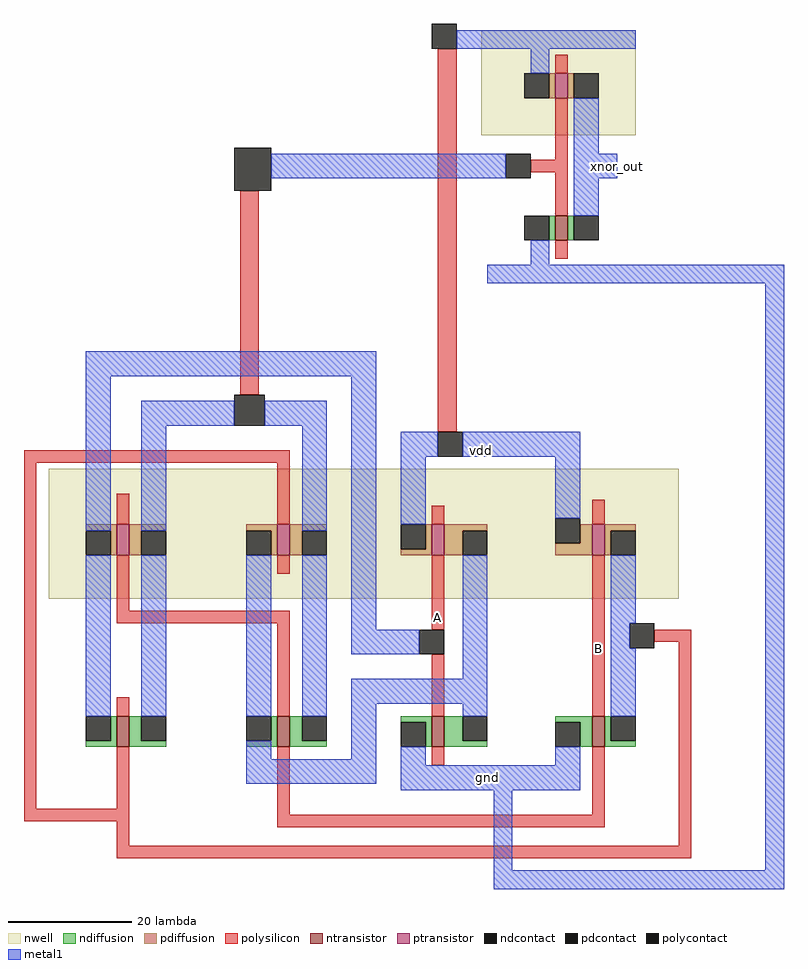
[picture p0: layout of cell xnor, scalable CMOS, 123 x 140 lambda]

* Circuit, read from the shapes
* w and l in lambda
.subckt xnor A B gnd vdd xnor_out
M1 n1 n2 A VSUBS nfet w=5 l=2
M2 n1 B n3 VSUBS nfet w=5 l=2
M3 n3 A gnd VSUBS nfet w=5 l=2
M4 xnor_out n1 gnd VSUBS nfet w=4 l=2
M5 n2 B gnd VSUBS nfet w=5 l=2
M6 n1 B A n4 pfet w=5 l=2
M7 n1 n2 n3 n4 pfet w=5 l=2
M8 n3 A vdd n4 pfet w=5 l=2
M9 xnor_out n1 vdd n5 pfet w=4 l=2
M10 n2 B vdd n4 pfet w=5 l=2
.ends

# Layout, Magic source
magic
tech scmos
<< nwell >>
rect 73 214 98 231
rect 3 139 105 160
<< ntransistor >>
rect 85 197 87 201
rect 14 115 16 120
rect 40 115 42 120
rect 65 115 67 120
rect 91 115 93 120
<< ptransistor >>
rect 85 220 87 224
rect 14 146 16 151
rect 40 146 42 151
rect 65 146 67 151
rect 91 146 93 151
<< ndiffusion >>
rect 84 197 85 201
rect 87 197 88 201
rect 13 116 14 120
rect 9 115 14 116
rect 16 116 18 120
rect 16 115 22 116
rect 39 116 40 120
rect 35 115 40 116
rect 42 116 44 120
rect 42 115 48 116
rect 60 119 65 120
rect 64 115 65 119
rect 67 116 70 120
rect 67 115 74 116
rect 85 119 91 120
rect 89 115 91 119
rect 93 116 94 120
rect 93 115 98 116
<< pdiffusion >>
rect 84 220 85 224
rect 87 220 88 224
rect 9 150 14 151
rect 13 146 14 150
rect 16 150 22 151
rect 16 146 18 150
rect 35 150 40 151
rect 39 146 40 150
rect 42 150 48 151
rect 42 146 44 150
rect 64 147 65 151
rect 60 146 65 147
rect 67 150 74 151
rect 67 146 70 150
rect 89 148 91 151
rect 85 146 91 148
rect 93 150 98 151
rect 93 146 94 150
<< ndcontact >>
rect 80 197 84 201
rect 88 197 92 201
rect 9 116 13 120
rect 18 116 22 120
rect 35 116 39 120
rect 44 116 48 120
rect 60 115 64 119
rect 70 116 74 120
rect 85 115 89 119
rect 94 116 98 120
<< pdcontact >>
rect 80 220 84 224
rect 88 220 92 224
rect 9 146 13 150
rect 18 146 22 150
rect 35 146 39 150
rect 44 146 48 150
rect 60 147 64 151
rect 70 146 74 150
rect 85 148 89 152
rect 94 146 98 150
<< polysilicon >>
rect 34 172 37 205
rect 66 166 69 228
rect 85 224 87 227
rect 85 210 87 220
rect 81 208 87 210
rect 85 201 87 208
rect 85 194 87 197
rect -1 161 42 163
rect -1 105 1 161
rect 14 151 16 156
rect 40 151 42 161
rect 65 151 67 154
rect 91 151 93 155
rect 14 137 16 146
rect 40 143 42 146
rect 14 135 42 137
rect 14 120 16 123
rect 40 120 42 135
rect 65 134 67 146
rect 65 120 67 130
rect 91 120 93 146
rect 101 132 107 134
rect 14 105 16 115
rect -1 103 16 105
rect 14 99 16 103
rect 40 104 42 115
rect 65 112 67 115
rect 91 104 93 115
rect 40 102 93 104
rect 105 99 107 132
rect 14 97 107 99
<< polycontact >>
rect 65 228 69 232
rect 33 205 39 212
rect 33 167 38 172
rect 77 207 81 211
rect 66 162 70 166
rect 63 130 67 134
rect 97 131 101 135
<< metal1 >>
rect 69 228 98 231
rect 81 224 84 228
rect 88 211 92 220
rect 39 207 77 211
rect 88 207 95 211
rect 88 201 92 207
rect 81 193 84 197
rect 74 190 122 193
rect 9 175 56 179
rect 9 150 13 175
rect 9 120 13 146
rect 18 167 33 171
rect 38 167 48 171
rect 18 150 22 167
rect 44 150 48 167
rect 18 120 22 146
rect 35 120 39 146
rect 44 120 48 146
rect 52 134 56 175
rect 60 162 66 166
rect 70 162 89 166
rect 60 151 64 162
rect 85 152 89 162
rect 52 130 63 134
rect 70 126 74 146
rect 52 122 74 126
rect 35 113 39 116
rect 52 113 56 122
rect 70 120 74 122
rect 35 109 56 113
rect 94 135 98 146
rect 94 131 97 135
rect 94 120 98 131
rect 60 112 64 115
rect 85 112 89 115
rect 60 108 89 112
rect 75 95 78 108
rect 119 95 122 190
rect 75 92 122 95
<< labels >>
rlabel polysilicon 66 136 66 136 1 A
rlabel polysilicon 92 131 92 131 1 B
rlabel metal1 74 110 74 110 1 gnd
rlabel metal1 73 163 73 163 1 vdd
rlabel metal1 95 207 95 211 1 xnor_out
<< end >>
